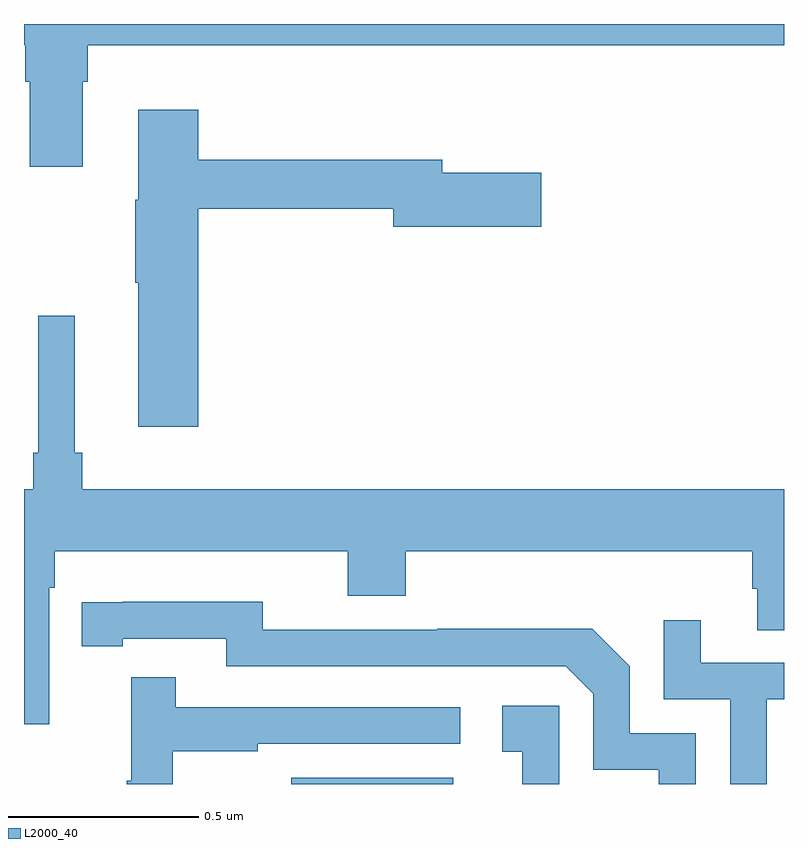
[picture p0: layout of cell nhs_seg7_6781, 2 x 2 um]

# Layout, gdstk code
import gdstk
lib = gdstk.Library(unit=1e-6, precision=1e-09)
def R(c, l, rs):  # rectangles x0, y0, x1, y1
    for r in rs: c.add(gdstk.rectangle(r[:2], r[2:], *l))
def P(c, l, *ps):  # polygons
    for p in ps: c.add(gdstk.Polygon(p, *l))
L2000_40 = (2000, 40)

nhs_seg7_6781 = lib.new_cell('nhs_seg7_6781')
R(nhs_seg7_6781, L2000_40, [(203.703,1004,204.13,1004.017)])
P(nhs_seg7_6781, L2000_40, [(203.155,1005.848),(203.168,1005.848),(203.168,1005.944),(205,1005.944),(205,1006),(203,1006),(203,1005.944),(203.003,1005.944),(203.003,1005.848),(203.015,1005.848),(203.015,1005.624),(203.155,1005.624)],
  [(203.459,1005.514),(203.972,1005.514),(203.972,1005.467),(204.361,1005.467),(204.361,1005.609),(204.1,1005.609),(204.1,1005.643),(203.459,1005.643),(203.459,1005.775),(203.3,1005.775),(203.3,1005.537),(203.293,1005.537),(203.293,1005.319),(203.3,1005.319),(203.3,1004.94),(203.459,1004.94)],
  [(203.153,1004.872),(203.134,1004.872),(203.134,1005.232),(203.037,1005.232),(203.037,1004.872),(203.024,1004.872),(203.024,1004.776),(203,1004.776),(203,1004.157),(203.067,1004.157),(203.067,1004.516),(203.081,1004.516),(203.081,1004.612),(203.852,1004.612),(203.852,1004.495),(204.005,1004.495),(204.005,1004.612),(204.917,1004.612),(204.917,1004.514),(204.929,1004.514),(204.929,1004.404),(205,1004.404),(205,1004.776),(203.153,1004.776)],
  [(204.768,1004.133),(204.594,1004.133),(204.594,1004.31),(204.496,1004.408),(204.088,1004.408),(204.088,1004.406),(203.628,1004.406),(203.628,1004.479),(203.26,1004.479),(203.26,1004.478),(203.152,1004.478),(203.152,1004.362),(203.26,1004.362),(203.26,1004.382),(203.532,1004.382),(203.532,1004.31),(204.426,1004.31),(204.498,1004.238),(204.498,1004.037),(204.671,1004.037),(204.671,1004),(204.768,1004)],
  [(204.954,1004.223),(205,1004.223),(205,1004.319),(204.781,1004.319),(204.781,1004.431),(204.684,1004.431),(204.684,1004.223),(204.858,1004.223),(204.858,1004),(204.954,1004)],
  [(203.392,1004.086),(203.615,1004.086),(203.615,1004.106),(204.148,1004.106),(204.148,1004.202),(203.399,1004.202),(203.399,1004.281),(203.282,1004.281),(203.282,1004.009),(203.271,1004.009),(203.271,1004),(203.392,1004)],
  [(204.408,1004.206),(204.258,1004.206),(204.258,1004.085),(204.311,1004.085),(204.311,1004),(204.408,1004)])

lib.write_gds('nhs_seg7_6781.gds')
